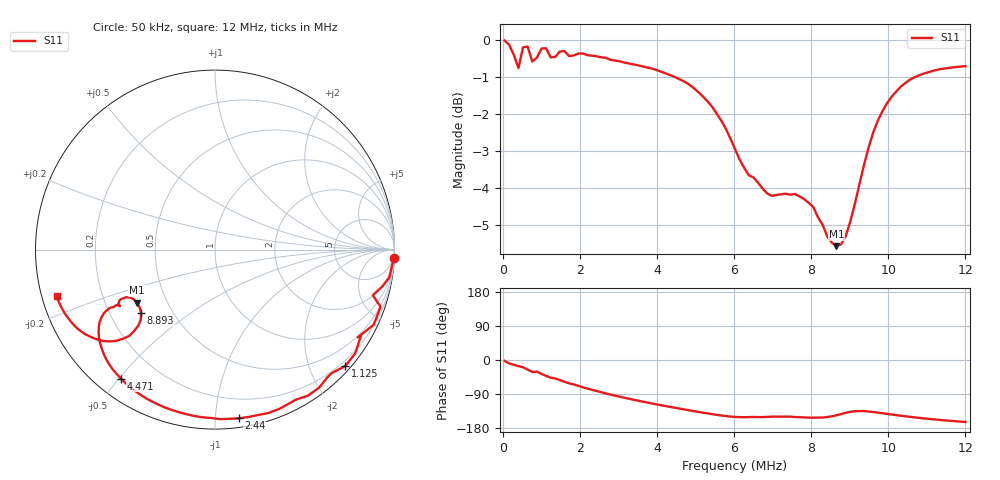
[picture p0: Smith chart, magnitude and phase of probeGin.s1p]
# Hz S RI R 50
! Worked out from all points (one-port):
!   101 points, 50 kHz to 12 MHz, reference 50 ohm
!   lowest |S11| = -5.6 dB at 8.654 MHz (marker M1), VSWR 3.22, Z = 16.9 - j13.7 ohm
!   |S11| at or under -10 dB: nowhere
!   S11 on the Smith chart (normalised r, x): 50 kHz: 3, -44; 1.125 MHz: 0.11, -2.61; 2.44 MHz: 0.06, -1.15; 4.471 MHz: 0.07, -0.51; 8.893 MHz: 0.33, -0.33; 12 MHz: 0.04, -0.14
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50000  0.9962 -0.0449
169500  0.9712 -0.1559
408500  0.8789 -0.2542
528000  0.9225 -0.3185
647500  0.8844 -0.4185
767000  0.7959 -0.4886
886500  0.8125 -0.4825
1125500  0.7247 -0.6494
1245000  0.6489 -0.6885
1364500  0.6259 -0.7114
1603500  0.5179 -0.8137
2081500  0.297 -0.9103
2440000  0.1316 -0.9399
3037500  -0.1127 -0.9278
3754500  -0.3488 -0.8476
4471500  -0.5246 -0.7184
4591000  -0.548 -0.693
5427500  -0.6464 -0.4912
6025000  -0.6178 -0.3526
6981000  -0.5297 -0.312
7578500  -0.5385 -0.3041
8295500  -0.4957 -0.2651
8654000  -0.4352 -0.2949
8893000  -0.4119 -0.3518
9012500  -0.4133 -0.3881
9610000  -0.5502 -0.5082
1.0566e7  -0.7648 -0.4412
1.2e7  -0.8829 -0.2605
